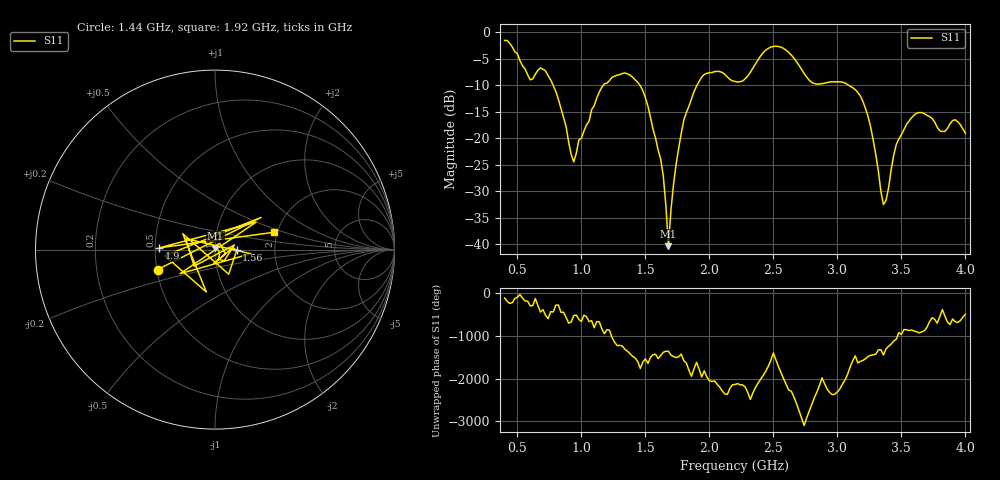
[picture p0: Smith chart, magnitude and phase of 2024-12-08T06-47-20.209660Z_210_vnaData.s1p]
!Created with skrf (http://scikit-rf.org).
# Hz S RI R 50.0
!freq ReS11 ImS11
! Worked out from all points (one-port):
!   181 points, 400 MHz to 4 GHz, reference 50 ohm
!   lowest |S11| = -40.4 dB at 1.68 GHz (marker M1), VSWR 1.02, Z = 50.2 + j0.93 ohm
!   |S11| at or under -10 dB: 779.3 MHz to 1.171 GHz (392.1 MHz wide, 40.2 % of centre); 1.457 GHz to 1.903 GHz (445.7 MHz wide, 26.5 % of centre); 3.088 GHz to end of sweep
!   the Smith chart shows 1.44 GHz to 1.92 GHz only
!   S11 on the Smith chart (normalised r, x): 1.44 GHz: 0.51, -0.13; 1.56 GHz: 1.28, -0.01; 1.9 GHz: 0.53, +0.01; 1.92 GHz: 1.93, +0.42
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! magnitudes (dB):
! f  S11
! 400 MHz  -1.5
! 600 MHz  -9.0
! 720 MHz  -7.3
! 860 MHz  -16.0
! 940 MHz  -24.5
! 1.14 GHz  -11.3
! 1.3 GHz  -8.0
! 1.44 GHz  -9.4
! 1.56 GHz  -18.3
! 1.64 GHz  -27.2
! 1.68 GHz  -40.4
! 1.72 GHz  -28.7
! 1.76 GHz  -21.9
! 1.9 GHz  -10.1
! 1.92 GHz  -9.3
! 2.2 GHz  -9.3
! 2.48 GHz  -2.8
! 2.66 GHz  -4.9
! 2.8 GHz  -9.5
! 3.1 GHz  -10.2
! 3.24 GHz  -15.9
! 3.36 GHz  -32.6
! 3.46 GHz  -21.2
! 3.56 GHz  -16.7
! 3.66 GHz  -15.2
! 3.82 GHz  -18.7
! 3.92 GHz  -16.5
! 4 GHz  -19.1
